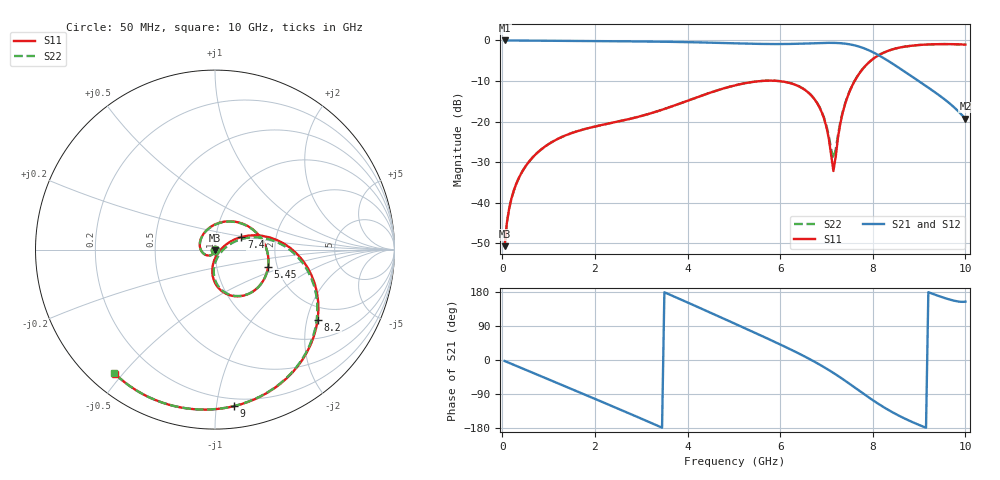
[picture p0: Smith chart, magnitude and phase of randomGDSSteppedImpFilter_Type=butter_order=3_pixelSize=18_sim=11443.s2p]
! freq	dB(S11)	phase(S11)	dB(S12)	phase(S12)
!  dB(S21)	phase(S21)	dB(S22)	phase(S22)
!S-par simulation data
#  GHz  S  DB  R 50
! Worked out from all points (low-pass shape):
!   200 points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, 50 MHz to 10 GHz, reference 50 ohm
!   highest |S21| = 0.00 dB at 50 MHz (marker M1); lowest = -19.2 dB at 10 GHz (marker M2)
!   |S21| within 3 dB of the highest: start of sweep to 8.022 GHz
!   lowest |S11| = -50.7 dB at 50 MHz (marker M3), VSWR 1.01, Z = 50 - j0.291 ohm
!   |S11| at or under -10 dB: start of sweep to 5.58 GHz; 5.968 GHz to 7.608 GHz (1.64 GHz wide, 24.2 % of centre)
!   |S22| runs from -50.7 to -0.9 dB; largest |S21 - S12| = 0
!   S11 on the Smith chart (normalised r, x): 50 MHz: 1.00, -0.01; 5.45 GHz: 1.79, -0.38; 7.4 GHz: 1.33, +0.19; 8.2 GHz: 1.55, -2.33; 9 GHz: 0.15, -1.12; 10 GHz: 0.07, -0.48
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0.05  -50.66 -82.6  -0.00 -2.6  -0.00 -2.6  -50.66 -82.6
0.1  -44.80 -90.2  -0.01 -5.2  -0.01 -5.2  -44.80 -90.2
0.2  -38.84 -98.0  -0.02 -10.3  -0.02 -10.3  -38.84 -98.1
0.5  -31.04 -115.3  -0.04 -25.6  -0.04 -25.6  -31.04 -115.7
1.15  -24.52 -149.6  -0.09 -58.9  -0.09 -58.9  -24.52 -150.5
1.75  -21.92 179.3  -0.13 -89.6  -0.13 -89.6  -21.91 178.0
2.5  -19.97 140.3  -0.20 -128.4  -0.20 -128.4  -19.97 138.5
3.4  -17.26 92.8  -0.31 -175.9  -0.31 -175.9  -17.25 91.1
4.15  -14.22 52.6  -0.45 143.7  -0.45 143.7  -14.22 51.5
5.05  -11.00 3.9  -0.72 94.3  -0.72 94.3  -10.99 3.6
5.45  -10.15 -17.8  -0.83 72.1  -0.83 72.1  -10.15 -17.8
6.15  -10.32 -56.2  -0.88 32.3  -0.88 32.3  -10.31 -55.5
6.7  -13.89 -87.1  -0.70 -1.7  -0.70 -1.7  -13.85 -85.1
6.95  -19.30 -98.0  -0.61 -19.0  -0.61 -19.0  -19.11 -93.4
7.15  -32.16 -40.3  -0.60 -34.1  -0.60 -34.1  -29.06 -39.0
7.3  -20.42 27.5  -0.68 -46.1  -0.68 -46.1  -20.10 21.0
7.4  -15.74 25.5  -0.79 -54.4  -0.79 -54.4  -15.62 21.4
7.75  -7.49 1.0  -1.68 -84.7  -1.68 -84.7  -7.47 -0.8
8.2  -3.19 -34.3  -4.12 -121.8  -4.12 -121.8  -3.19 -35.2
8.35  -2.48 -44.9  -5.16 -132.7  -5.16 -132.7  -2.48 -45.7
9  -1.12 -83.0  -10.07 -171.4  -10.07 -171.4  -1.12 -83.5
10  -1.03 -128.9  -19.25 154.0  -19.25 154.0  -1.03 -129.1
